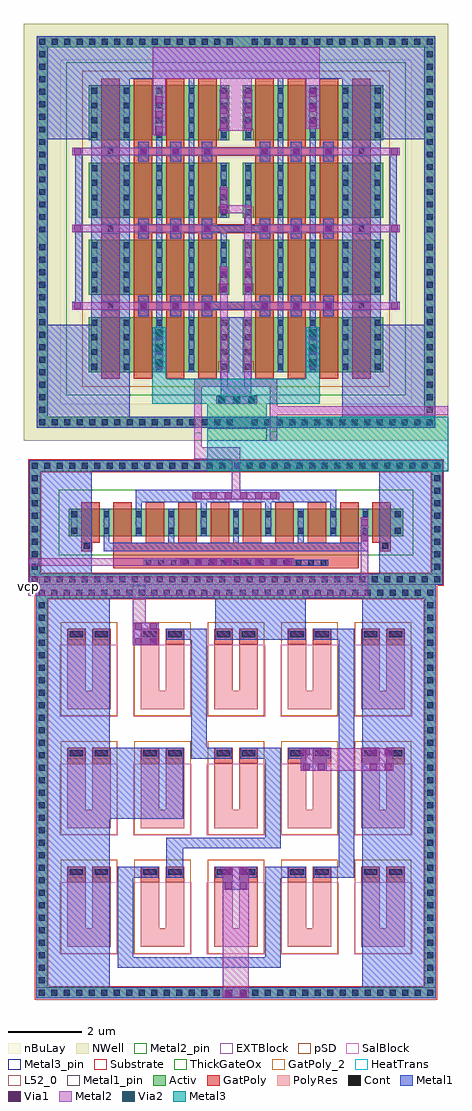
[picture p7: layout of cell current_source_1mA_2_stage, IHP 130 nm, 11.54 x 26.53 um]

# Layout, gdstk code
from math import pi, radians
import gdstk
lib = gdstk.Library(unit=1e-6, precision=1e-09)
def R(c, l, rs):  # rectangles x0, y0, x1, y1
    for r in rs: c.add(gdstk.rectangle(r[:2], r[2:], *l))
def A(c, l, x, y, w, h, nx, ny, dx, dy):  # array of equal rectangles
    R(c, l, [(x+i*dx, y+j*dy, x+i*dx+w, y+j*dy+h) for i in range(nx) for j in range(ny)])
def P(c, l, *ps):  # polygons
    for p in ps: c.add(gdstk.Polygon(p, *l))
Activ = (1, 0)
GatPoly = (5, 0)
GatPoly_2 = (5, 2)
Cont = (6, 0)
Metal1 = (8, 0)
Metal1_pin = (8, 2)
Metal2 = (10, 0)
Metal2_pin = (10, 2)
pSD = (14, 0)
Via1 = (19, 0)
SalBlock = (28, 0)
Via2 = (29, 0)
Metal3 = (30, 0)
Metal3_pin = (30, 2)
NWell = (31, 0)
nBuLay = (32, 0)
Substrate = (40, 0)
ThickGateOx = (44, 0)
HeatTrans = (51, 0)
L52_0 = (52, 0)
EXTBlock = (111, 0)
PolyRes = (128, 0)

via_stack_1_1 = lib.new_cell('via_stack$1$1')
R(via_stack_1_1, Metal1, [(-0.105,-0.555,0.105,0.555)])
R(via_stack_1_1, Metal2, [(-0.1,-0.555,0.1,0.555)])
A(via_stack_1_1, Via1, -0.095, -0.505, 0.19, 0.19, 1, 3, 0, 0.41)

via_stack_9 = lib.new_cell('via_stack$9')
R(via_stack_9, Metal1, [(-0.145,-0.105,0.145,0.105)])
R(via_stack_9, Metal2, [(-0.145,-0.1,0.145,0.1)])
R(via_stack_9, Via1, [(-0.095,-0.095,0.095,0.095)])

via_stack_14_3 = lib.new_cell('via_stack$14$3')
R(via_stack_14_3, GatPoly, [(-0.15,-0.15,0.15,0.15)])
R(via_stack_14_3, Cont, [(-0.08,-0.08,0.08,0.08)])
R(via_stack_14_3, Metal1, [(-0.145,-0.105,0.145,0.105)])
R(via_stack_14_3, Metal2, [(-0.145,-0.1,0.145,0.1)])
R(via_stack_14_3, Via1, [(-0.095,-0.095,0.095,0.095)])

via_stack_8_3 = lib.new_cell('via_stack$8$3')
R(via_stack_8_3, GatPoly, [(-0.15,-0.15,0.15,0.15)])
R(via_stack_8_3, Cont, [(-0.08,-0.08,0.08,0.08)])
R(via_stack_8_3, Metal1, [(-0.13,-0.08,0.13,0.08)])

via_stack_12_2 = lib.new_cell('via_stack$12$2')
R(via_stack_12_2, Metal1, [(-0.105,-0.35,0.105,0.35)])
R(via_stack_12_2, Metal2, [(-0.1,-0.35,0.1,0.35)])
R(via_stack_12_2, Via1, [(-0.095,-0.3,0.095,-0.11), (-0.095,0.11,0.095,0.3)])

pmoshv_4 = lib.new_cell('pmosHV$4')
A(pmoshv_4, Activ, 0, 0, 0.3, 0.3, 5, 1, 0.88, 0)
R(pmoshv_4, Activ, [(0,0,3.82,1.5)])
A(pmoshv_4, GatPoly, 0.34, -0.18, 0.5, 1.86, 4, 1, 0.88, 0)
R(pmoshv_4, GatPoly_2, [(0.34,-0.18,0.84,1.68)])
A(pmoshv_4, Cont, 0.07, 0.07, 0.16, 0.16, 5, 4, 0.88, 0.4)
A(pmoshv_4, Metal1, 0.07, 0, 0.16, 1.5, 5, 1, 0.88, 0)
R(pmoshv_4, Metal1_pin, [(0.07,0,0.23,1.5), (0.95,0,1.11,1.5)])
R(pmoshv_4, pSD, [(-0.18,-0.4,4,1.9)])
R(pmoshv_4, NWell, [(-0.62,-0.62,4.44,2.12)])
R(pmoshv_4, Substrate, [(3.52,0,3.82,0.3)])
R(pmoshv_4, ThickGateOx, [(-0.62,-0.62,4.44,2.12)])
A(pmoshv_4, HeatTrans, 0.34, -0.18, 0.5, 1.86, 4, 1, 0.88, 0)
pmoshv_4.add(gdstk.Label('pmosHV', (0.59,0.75), layer=63, texttype=0))
pmoshv_4.add(gdstk.Label('pmos', (0.59,0.75), layer=51, texttype=0))
pmoshv_4.add(gdstk.Label('pmos', (1.47,0.75), layer=51, texttype=0))
pmoshv_4.add(gdstk.Label('pmos', (2.35,0.75), layer=51, texttype=0))
pmoshv_4.add(gdstk.Label('pmos', (3.23,0.75), layer=51, texttype=0))

guard_ring_4_2 = lib.new_cell('guard_ring$4$2')
R(guard_ring_4_2, Activ, [(-5.42,-5.02,-5.12,5.02), (5.12,-5.02,5.42,5.02), (-5.42,5.02,5.42,5.32)])
P(guard_ring_4_2, Activ, [(-5.42,-5.32),(-5.42,5.02),(-5.12,5.02),(-5.12,-5.02),(5.12,-5.02),(5.12,5.02),(-5.42,5.02),(-5.42,5.32),(5.42,5.32),(5.42,-5.32)])
A(guard_ring_4_2, Cont, -5.35, -5.25, 0.16, 0.16, 15, 2, 0.34, 10.34)
A(guard_ring_4_2, Cont, 0.09, -5.25, 0.16, 0.16, 16, 2, 0.34, 10.34)
A(guard_ring_4_2, Cont, -5.35, -4.91, 0.16, 0.16, 1, 14, 0, 0.34)
A(guard_ring_4_2, Cont, 5.19, -4.91, 0.16, 0.16, 1, 14, 0, 0.34)
A(guard_ring_4_2, Cont, -5.35, -0.01, 0.16, 0.16, 1, 15, 0, 0.34)
A(guard_ring_4_2, Cont, 5.19, -0.01, 0.16, 0.16, 1, 15, 0, 0.34)
R(guard_ring_4_2, Metal1, [(-5.42,-5.32,5.42,-5.02), (-5.42,-5.02,-5.12,5.02), (5.12,-5.02,5.42,5.02), (-5.42,5.02,5.42,5.32)])
R(guard_ring_4_2, NWell, [(-5.77,-5.67,5.77,5.67)])
R(guard_ring_4_2, nBuLay, [(-5.77,-4.67,-4.77,4.67), (4.77,-4.67,5.77,4.67), (-5.77,4.67,5.77,5.67)])
P(guard_ring_4_2, nBuLay, [(-5.77,-5.67),(-5.77,4.67),(-4.77,4.67),(-4.77,-4.67),(4.77,-4.67),(4.77,4.67),(-5.77,4.67),(-5.77,5.67),(5.77,5.67),(5.77,-5.67)])
guard_ring_4_2.add(gdstk.Label('well', (0,-5.17), layer=63, texttype=0))

via_stack_22_2 = lib.new_cell('via_stack$22$2')
R(via_stack_22_2, Metal1, [(-0.105,-0.555,0.105,0.555)])
R(via_stack_22_2, Metal2, [(-0.1,-0.555,0.1,0.555)])
A(via_stack_22_2, Via1, -0.095, -0.505, 0.19, 0.19, 1, 3, 0, 0.41)
A(via_stack_22_2, Via2, -0.095, -0.505, 0.19, 0.19, 1, 3, 0, 0.41)
R(via_stack_22_2, Metal3, [(-0.1,-0.555,0.1,0.555)])

via_stack_24_2 = lib.new_cell('via_stack$24$2')
R(via_stack_24_2, Metal1, [(-0.555,-0.105,0.555,0.105)])
R(via_stack_24_2, Metal2, [(-0.555,-0.1,0.555,0.1)])
A(via_stack_24_2, Via1, -0.505, -0.095, 0.19, 0.19, 3, 1, 0.41, 0)
A(via_stack_24_2, Via2, -0.505, -0.095, 0.19, 0.19, 3, 1, 0.41, 0)
R(via_stack_24_2, Metal3, [(-0.555,-0.1,0.555,0.1)])

current_source_ref = lib.new_cell('current_source_ref')
A(current_source_ref, GatPoly, -2.78, -2.13, 2.78, 0.24, 1, 3, 0, 2.1)
A(current_source_ref, GatPoly, 0, -2.13, 2.78, 0.24, 1, 3, 0, 2.1)
R(current_source_ref, GatPoly, [(-3.66,-2.13,-3.16,-1.89), (3.16,-2.13,3.66,-1.89), (-3.66,-0.03,-3.16,0.21), (3.16,-0.03,3.66,0.21), (-3.66,2.045,-3.16,2.31), (3.16,2.045,3.66,2.31)])
R(current_source_ref, Metal1, [(-5.42,-5.32,-2.89,-2.525), (-3.93,-5.32,-2.89,5.32), (2.89,-5.32,3.93,5.32), (2.89,-5.32,5.42,-2.525), (-0.41,-4.67,0.41,-2.31), (-2.17,-3.81,-2.01,3.99), (-1.29,-3.81,-1.13,4.67), (1.13,-3.81,1.29,4.595), (2.01,-3.81,2.17,3.99), (-2.66,-2.285,-2.37,-1.735), (-1.785,-2.285,-1.495,-1.735), (-0.93,-2.285,-0.64,-1.735), (0.64,-2.285,0.93,-1.735), (1.495,-2.285,1.79,-1.735), (2.37,-2.285,2.66,-1.735), (-4.37,-2.11,-4.18,2.29), (-0.69,-2.11,0.89,-1.9), (4.18,-2.11,4.37,2.29), (0.25,-0.305,0.41,0.18), (-2.66,-0.185,-2.365,0.365), (-1.785,-0.185,-1.495,0.365), (-0.93,-0.185,-0.64,0.365), (0.64,-0.185,0.93,0.365), (1.495,-0.185,1.79,0.365), (2.37,-0.185,2.66,0.365), (-0.93,-0.01,0.93,0.18), (-0.41,-0.01,-0.25,0.555), (-2.66,1.91,-2.37,2.46), (-1.785,1.91,-1.495,2.46), (-0.93,1.91,-0.64,2.46), (0.64,1.91,0.93,2.46), (1.495,1.91,1.79,2.46), (2.365,1.91,2.66,2.46), (-5.42,2.525,-2.89,5.32), (2.89,2.525,5.42,5.32), (-5.42,4.17,5.42,5.15)])
R(current_source_ref, Metal1_pin, [(-5.42,5.02,5.42,5.32)])
R(current_source_ref, Metal2, [(-1.12,-5.67,-0.92,-3.99), (0.93,-5.67,1.13,-3.99), (-1.12,-4.205,-0.23,-3.99), (-0.43,-4.205,-0.23,-1.47), (0.23,-4.205,0.43,-1.47), (0.23,-4.205,1.13,-3.99), (-4.37,-2.105,-0.64,-1.905), (0.64,-2.105,4.37,-1.905), (-0.43,-1.41,-0.23,0.595), (-4.37,-0.005,-0.64,0.195), (0.64,-0.005,4.37,0.195), (-0.43,0.515,0.43,0.735), (-4.37,2.09,0,2.29), (0,2.09,4.37,2.29), (1.915,2.635,2.265,4.37), (-0.43,2.75,0.43,4.37), (-2.28,2.815,-1.9,4.37), (-0.43,3.685,-0.23,4.37), (-2.28,4.17,-0.23,5.02), (-0.77,4.17,0.77,5.02), (0.23,4.17,2.265,5.02)])
R(current_source_ref, Metal2_pin, [(-1.12,-5.67,-0.92,-5.42), (0.93,-5.67,1.13,-5.455)])
R(current_source_ref, Metal3, [(-0.84,-5.67,0.775,-4.57), (-2.28,-4.67,-1.9,-2.59), (-2.28,-4.67,2.28,-3.99), (1.9,-4.67,2.28,-2.59)])
R(current_source_ref, Metal3_pin, [(-0.84,-5.67,0.775,-5.33)])
current_source_ref.add(gdstk.Reference(via_stack_1_1, (-0.33,3.32)))
current_source_ref.add(gdstk.Reference(via_stack_1_1, (-2.09,3.37)))
current_source_ref.add(gdstk.Reference(via_stack_9, (-4.305,2.19)))
current_source_ref.add(gdstk.Reference(via_stack_14_3, (-0.785,2.19)))
current_source_ref.add(gdstk.Reference(via_stack_14_3, (-1.64,2.19)))
current_source_ref.add(gdstk.Reference(via_stack_14_3, (-2.515,2.19)))
current_source_ref.add(gdstk.Reference(via_stack_9, (-4.305,0.095)))
current_source_ref.add(gdstk.Reference(via_stack_14_3, (-0.785,0.095)))
current_source_ref.add(gdstk.Reference(via_stack_14_3, (-1.64,0.095)))
current_source_ref.add(gdstk.Reference(via_stack_14_3, (-2.515,0.095)))
current_source_ref.add(gdstk.Reference(via_stack_9, (-4.305,-2.005)))
current_source_ref.add(gdstk.Reference(via_stack_14_3, (-0.785,-2.005)))
current_source_ref.add(gdstk.Reference(via_stack_14_3, (-1.64,-2.005)))
current_source_ref.add(gdstk.Reference(via_stack_14_3, (-2.515,-2.005)))
current_source_ref.add(gdstk.Reference(via_stack_8_3, (-3.41,0.095)))
current_source_ref.add(gdstk.Reference(via_stack_8_3, (-3.41,-1.995)))
current_source_ref.add(gdstk.Reference(via_stack_8_3, (-3.41,2.215)))
current_source_ref.add(gdstk.Reference(via_stack_1_1, (0.33,3.315), rotation=pi, x_reflection=True))
current_source_ref.add(gdstk.Reference(via_stack_1_1, (2.09,3.19), rotation=pi, x_reflection=True))
current_source_ref.add(gdstk.Reference(via_stack_9, (4.305,2.19), rotation=pi, x_reflection=True))
current_source_ref.add(gdstk.Reference(via_stack_14_3, (1.64,2.19), rotation=pi, x_reflection=True))
current_source_ref.add(gdstk.Reference(via_stack_14_3, (2.515,2.19), rotation=pi, x_reflection=True))
current_source_ref.add(gdstk.Reference(via_stack_9, (4.305,0.095), rotation=pi, x_reflection=True))
current_source_ref.add(gdstk.Reference(via_stack_14_3, (0.785,0.095), rotation=pi, x_reflection=True))
current_source_ref.add(gdstk.Reference(via_stack_14_3, (1.64,0.095), rotation=pi, x_reflection=True))
current_source_ref.add(gdstk.Reference(via_stack_14_3, (2.515,0.095), rotation=pi, x_reflection=True))
current_source_ref.add(gdstk.Reference(via_stack_9, (4.305,-2.005), rotation=pi, x_reflection=True))
current_source_ref.add(gdstk.Reference(via_stack_14_3, (0.785,-2.005), rotation=pi, x_reflection=True))
current_source_ref.add(gdstk.Reference(via_stack_14_3, (1.64,-2.005), rotation=pi, x_reflection=True))
current_source_ref.add(gdstk.Reference(via_stack_14_3, (2.515,-2.005), rotation=pi, x_reflection=True))
current_source_ref.add(gdstk.Reference(via_stack_8_3, (3.41,0.095), rotation=pi, x_reflection=True))
current_source_ref.add(gdstk.Reference(via_stack_8_3, (3.41,-1.995), rotation=pi, x_reflection=True))
current_source_ref.add(gdstk.Reference(via_stack_8_3, (3.41,2.215), rotation=pi, x_reflection=True))
current_source_ref.add(gdstk.Reference(via_stack_14_3, (0.785,2.19), rotation=pi, x_reflection=True))
current_source_ref.add(gdstk.Reference(via_stack_12_2, (0.33,0.865)))
current_source_ref.add(gdstk.Reference(via_stack_12_2, (-0.33,-1.295)))
current_source_ref.add(gdstk.Reference(via_stack_12_2, (0.33,-1.295)))
r = gdstk.Reference(pmoshv_4, (-4,-3.81)); r.repetition = gdstk.Repetition(1, 4, v1=(0,0), v2=(0,2.1)); current_source_ref.add(r)
r = gdstk.Reference(pmoshv_4, (4,-3.81), rotation=pi, x_reflection=True); r.repetition = gdstk.Repetition(1, 4, v1=(0,0), v2=(0,2.1)); current_source_ref.add(r)
current_source_ref.add(gdstk.Reference(guard_ring_4_2, (0,0)))
current_source_ref.add(gdstk.Reference(via_stack_22_2, (-2.09,-3.145), rotation=pi, x_reflection=True))
current_source_ref.add(gdstk.Reference(via_stack_22_2, (2.09,-3.145), rotation=pi, x_reflection=True))
current_source_ref.add(gdstk.Reference(via_stack_24_2, (-0.02,-4.56)))
current_source_ref.add(gdstk.Label('IOVDD', (0,5.32), layer=8, texttype=2))
current_source_ref.add(gdstk.Label('iref', (1.03,-5.67), layer=10, texttype=2))
current_source_ref.add(gdstk.Label('i100ua', (-1.02,-5.67), layer=10, texttype=2))
current_source_ref.add(gdstk.Label('i1ma', (-0.032,-5.67), layer=30, texttype=2))

nmoshv_2_1 = lib.new_cell('nmosHV$2$1')
A(nmoshv_2_1, Activ, 0, 0, 0.3, 0.3, 11, 1, 0.88, 0)
R(nmoshv_2_1, Activ, [(-1.07,-1.02,-0.77,1.77), (9.87,-1.02,10.17,1.77), (0,0,9.1,0.75), (-1.07,1.77,10.17,2.07)])
P(nmoshv_2_1, Activ, [(-1.07,-1.32),(-1.07,1.77),(-0.77,1.77),(-0.77,-1.02),(9.87,-1.02),(9.87,1.77),(-1.07,1.77),(-1.07,2.07),(10.17,2.07),(10.17,-1.32)])
A(nmoshv_2_1, GatPoly, 0.34, -0.18, 0.5, 1.11, 10, 1, 0.88, 0)
R(nmoshv_2_1, GatPoly_2, [(0.34,-0.18,0.84,0.93)])
A(nmoshv_2_1, Cont, -1, -1.25, 0.16, 0.16, 16, 2, 0.34, 3.09)
A(nmoshv_2_1, Cont, 4.5, -1.25, 0.16, 0.16, 17, 2, 0.34, 3.09)
A(nmoshv_2_1, Cont, -1, -0.91, 0.16, 0.16, 1, 4, 0, 0.34)
A(nmoshv_2_1, Cont, 9.94, -0.91, 0.16, 0.16, 1, 4, 0, 0.34)
A(nmoshv_2_1, Cont, 0.07, 0.07, 0.16, 0.16, 11, 2, 0.88, 0.45)
A(nmoshv_2_1, Cont, -1, 0.48, 0.16, 0.16, 1, 4, 0, 0.34)
A(nmoshv_2_1, Cont, 9.94, 0.48, 0.16, 0.16, 1, 4, 0, 0.34)
A(nmoshv_2_1, Metal1, 0.07, 0, 0.16, 0.75, 11, 1, 0.88, 0)
R(nmoshv_2_1, Metal1, [(-1.07,-1.32,10.17,-1.02), (-1.07,-1.02,-0.77,1.77), (9.87,-1.02,10.17,1.77), (-1.07,1.77,10.17,2.07)])
R(nmoshv_2_1, Metal1_pin, [(0.07,0,0.23,0.75), (0.95,0,1.11,0.75)])
R(nmoshv_2_1, pSD, [(-1.1,-0.99,-0.74,1.74), (9.84,-0.99,10.2,1.74), (-1.1,1.74,10.2,2.1)])
P(nmoshv_2_1, pSD, [(-1.1,-1.35),(-1.1,1.74),(-0.74,1.74),(-0.74,-0.99),(9.84,-0.99),(9.84,1.74),(-1.1,1.74),(-1.1,2.1),(10.2,2.1),(10.2,-1.35)])
R(nmoshv_2_1, Substrate, [(-1.1,-0.99,-0.74,1.74), (9.84,-0.99,10.2,1.74), (-1.1,1.74,10.2,2.1)])
P(nmoshv_2_1, Substrate, [(-1.1,-1.35),(-1.1,1.74),(-0.74,1.74),(-0.74,-0.99),(9.84,-0.99),(9.84,1.74),(-1.1,1.74),(-1.1,2.1),(10.2,2.1),(10.2,-1.35)])
R(nmoshv_2_1, ThickGateOx, [(-0.27,-0.52,9.37,1.27)])
A(nmoshv_2_1, HeatTrans, 0.34, -0.18, 0.5, 1.11, 10, 1, 0.88, 0)
nmoshv_2_1.add(gdstk.Label('nmosHV', (0.59,0.375), layer=63, texttype=0))
nmoshv_2_1.add(gdstk.Label('sub!', (4.55,-1.17), layer=63, texttype=0))
nmoshv_2_1.add(gdstk.Label('nmosHV', (0.59,0.375), layer=51, texttype=0))
nmoshv_2_1.add(gdstk.Label('nmosHV', (1.47,0.375), layer=51, texttype=0))
nmoshv_2_1.add(gdstk.Label('nmosHV', (2.35,0.375), layer=51, texttype=0))
nmoshv_2_1.add(gdstk.Label('nmosHV', (3.23,0.375), layer=51, texttype=0))
nmoshv_2_1.add(gdstk.Label('nmosHV', (4.11,0.375), layer=51, texttype=0))
nmoshv_2_1.add(gdstk.Label('nmosHV', (4.99,0.375), layer=51, texttype=0))
nmoshv_2_1.add(gdstk.Label('nmosHV', (5.87,0.375), layer=51, texttype=0))
nmoshv_2_1.add(gdstk.Label('nmosHV', (6.75,0.375), layer=51, texttype=0))
nmoshv_2_1.add(gdstk.Label('nmosHV', (7.63,0.375), layer=51, texttype=0))
nmoshv_2_1.add(gdstk.Label('nmosHV', (8.51,0.375), layer=51, texttype=0))

via_stack_26_2 = lib.new_cell('via_stack$26$2')
R(via_stack_26_2, GatPoly, [(-2.53,-0.15,2.53,0.15)])
A(via_stack_26_2, Cont, -2.46, -0.08, 0.16, 0.16, 15, 1, 0.34, 0)
R(via_stack_26_2, Metal1, [(-2.51,-0.08,2.51,0.08)])

via_stack_27_1 = lib.new_cell('via_stack$27$1')
R(via_stack_27_1, Metal1, [(-1.58,-0.105,1.58,0.105)])
R(via_stack_27_1, Metal2, [(-1.58,-0.1,1.58,0.1)])
A(via_stack_27_1, Via1, -1.53, -0.095, 0.19, 0.19, 8, 1, 0.41, 0)

via_stack_28_1 = lib.new_cell('via_stack$28$1')
R(via_stack_28_1, Metal1, [(-1.17,-0.105,1.17,0.105)])
R(via_stack_28_1, Metal2, [(-1.17,-0.1,1.17,0.1)])
A(via_stack_28_1, Via1, -1.12, -0.095, 0.19, 0.19, 6, 1, 0.41, 0)

current_source_pass_elem = lib.new_cell('current_source_pass_element')
R(current_source_pass_elem, GatPoly, [(-3.33,-1.245,3.33,-1), (-3.33,-1,3.33,-0.555)])
A(current_source_pass_elem, Metal1, -3.6, -0.78, 0.16, 0.555, 5, 1, 1.76, 0)
A(current_source_pass_elem, Metal1, -2.72, 0.225, 0.16, 0.67, 4, 1, 1.76, 0)
R(current_source_pass_elem, Metal1, [(-5.62,-1.695,-3.925,1.695), (3.9,-1.695,5.62,1.695), (-3.6,-0.78,3.6,-0.555), (-2.72,0.555,2.72,0.895)])
R(current_source_pass_elem, Metal1_pin, [(-5.62,-1.695,5.62,-1.395)])
R(current_source_pass_elem, Metal2, [(3.395,-1.725,3.595,-0.44), (-5.65,-1.17,-1.255,-0.97), (-0.11,0.635,0.11,1.725)])
R(current_source_pass_elem, Metal2_pin, [(3.395,-1.725,3.595,-1.48), (-5.65,-1.17,-5.365,-0.97), (-0.11,1.43,0.11,1.725)])
current_source_pass_elem.add(gdstk.Reference(nmoshv_2_1, (-4.55,-0.375)))
current_source_pass_elem.add(gdstk.Reference(via_stack_26_2, (0,-1.095)))
current_source_pass_elem.add(gdstk.Reference(via_stack_27_1, (0,-1.07)))
current_source_pass_elem.add(gdstk.Reference(via_stack_12_2, (3.495,-0.21)))
current_source_pass_elem.add(gdstk.Reference(via_stack_28_1, (0,0.73)))
current_source_pass_elem.add(gdstk.Reference(via_stack_8_3, (4.06,-0.63)))
current_source_pass_elem.add(gdstk.Reference(via_stack_8_3, (-4.06,-0.63)))
current_source_pass_elem.add(gdstk.Label('VSS', (0,-1.695), layer=8, texttype=2))
current_source_pass_elem.add(gdstk.Label('vcp', (3.495,-1.725), layer=10, texttype=2))
current_source_pass_elem.add(gdstk.Label('iref', (0,1.725), layer=10, texttype=2))
current_source_pass_elem.add(gdstk.Label('vota', (-5.65,-1.07), layer=10, texttype=2))

rppd = lib.new_cell('rppd')
R(rppd, GatPoly, [(0,-0.43,0.5,-0.2), (0.68,-0.43,1.18,-0.2), (0,-0.2,0.5,0), (0.68,-0.2,1.18,0)])
R(rppd, Cont, [(0.07,-0.36,0.43,-0.2), (0.75,-0.36,1.11,-0.2)])
R(rppd, Metal1, [(0.02,-0.43,0.48,-0.13), (0.7,-0.43,1.16,-0.13)])
R(rppd, Metal1_pin, [(0.02,-0.43,0.48,-0.13), (0.7,-0.43,1.16,-0.13)])
R(rppd, pSD, [(-0.18,-0.61,0.68,0), (0.5,-0.61,1.36,0), (-0.18,0,1.36,1.255), (-0.18,1.255,1.36,1.935)])
R(rppd, SalBlock, [(-0.2,0,1.38,1.255), (-0.2,1.255,1.38,1.955)])
R(rppd, L52_0, [(0,0,0.5,1.255), (0.68,0,1.18,1.255), (0,1.255,1.18,1.755)])
R(rppd, EXTBlock, [(-0.18,-0.61,0.68,0), (0.5,-0.61,1.36,0), (-0.2,0,1.38,1.255), (-0.2,1.255,1.38,1.955)])
R(rppd, PolyRes, [(0,0,0.5,1.255), (0.68,0,1.18,1.255), (0,1.255,1.18,1.755)])
rppd.add(gdstk.Label('rppd r=1803.295', (0.25,0.628), layer=63, texttype=0))
rppd.add(gdstk.Label('rppd', (0.25,0.628), layer=52, texttype=0))
rppd.add(gdstk.Label('rppd', (0.59,1.505), layer=52, texttype=0))
rppd.add(gdstk.Label('rppd', (0.93,0.628), layer=52, texttype=0))

guard_ring_6_1 = lib.new_cell('guard_ring$6$1')
R(guard_ring_6_1, Activ, [(-5.435,-5.29,-5.135,5.29), (5.135,-5.29,5.435,5.29), (-5.435,5.29,5.435,5.59)])
P(guard_ring_6_1, Activ, [(-5.435,-5.59),(-5.435,5.29),(-5.135,5.29),(-5.135,-5.29),(5.135,-5.29),(5.135,5.29),(-5.435,5.29),(-5.435,5.59),(5.435,5.59),(5.435,-5.59)])
A(guard_ring_6_1, Cont, -5.365, -5.52, 0.16, 0.16, 16, 2, 0.34, 10.88)
A(guard_ring_6_1, Cont, 0.105, -5.52, 0.16, 0.16, 16, 2, 0.34, 10.88)
A(guard_ring_6_1, Cont, -5.365, -5.18, 0.16, 0.16, 1, 31, 0, 0.34)
A(guard_ring_6_1, Cont, 5.205, -5.18, 0.16, 0.16, 1, 31, 0, 0.34)
R(guard_ring_6_1, Metal1, [(-5.435,-5.59,5.435,-5.29), (-5.435,-5.29,-5.135,5.29), (5.135,-5.29,5.435,5.29), (-5.435,5.29,5.435,5.59)])
R(guard_ring_6_1, pSD, [(-5.465,-5.26,-5.105,5.26), (5.105,-5.26,5.465,5.26), (-5.465,5.26,5.465,5.62)])
P(guard_ring_6_1, pSD, [(-5.465,-5.62),(-5.465,5.26),(-5.105,5.26),(-5.105,-5.26),(5.105,-5.26),(5.105,5.26),(-5.465,5.26),(-5.465,5.62),(5.465,5.62),(5.465,-5.62)])
R(guard_ring_6_1, Substrate, [(-5.465,-5.26,-5.105,5.26), (5.105,-5.26,5.465,5.26), (-5.465,5.26,5.465,5.62)])
P(guard_ring_6_1, Substrate, [(-5.465,-5.62),(-5.465,5.26),(-5.105,5.26),(-5.105,-5.26),(5.105,-5.26),(5.105,5.26),(-5.465,5.26),(-5.465,5.62),(5.465,5.62),(5.465,-5.62)])
guard_ring_6_1.add(gdstk.Label('sub!', (0,-5.44), layer=63, texttype=0))

via_stack_25_1 = lib.new_cell('via_stack$25$1')
R(via_stack_25_1, Metal1, [(-0.35,-0.31,0.35,0.31)])
R(via_stack_25_1, Metal2, [(-0.35,-0.305,0.35,0.305)])
R(via_stack_25_1, Via1, [(-0.3,-0.3,-0.11,-0.11), (0.11,-0.3,0.3,-0.11), (-0.3,0.11,-0.11,0.3), (0.11,0.11,0.3,0.3)])

via_stack_4_3 = lib.new_cell('via_stack$4$3')
R(via_stack_4_3, Metal1, [(-0.35,-0.105,0.35,0.105)])
R(via_stack_4_3, Metal2, [(-0.35,-0.1,0.35,0.1)])
R(via_stack_4_3, Via1, [(-0.3,-0.095,-0.11,0.095), (0.11,-0.095,0.3,0.095)])

current_source_pass_resi = lib.new_cell('current_source_pass_resistors')
R(current_source_pass_resi, Metal1, [(-5.435,-5.59,-3.43,5.59), (3.43,-5.59,5.435,5.59), (-3.21,-4.755,-2.79,-2.005), (-3.21,-4.755,1.21,-4.475), (0.79,-4.755,1.21,-2.005), (-3.21,-2.305,-2.11,-2.005), (-1.89,-2.305,-1.43,-1.23), (-0.57,-2.305,0.57,-2.005), (0.79,-2.305,1.89,-2.005), (2.11,-2.305,3.21,-2.005), (2.79,-2.305,3.21,4.455), (-1.89,-1.51,1.21,-1.23), (0.79,-1.51,1.21,1.225), (-4.065,-0.705,-1.43,1.225), (-1.21,0.925,-0.79,4.455), (-1.21,0.925,-0.11,1.225), (0.11,0.925,1.21,1.225), (1.43,0.925,2.57,1.225), (-1.89,4.155,-0.79,4.455), (-0.57,4.155,1.89,5.59), (2.11,4.155,3.21,4.455)])
R(current_source_pass_resi, Metal1_pin, [(-5.435,-5.59,5.435,-5.29)])
R(current_source_pass_resi, Metal2, [(-0.36,-5.565,0.34,-2.015), (1.765,0.6,4.28,1.21), (-2.805,4.01,-2.455,5.62)])
R(current_source_pass_resi, Metal2_pin, [(-2.805,5.25,-2.455,5.62)])
r = gdstk.Reference(rppd, (-4.59,4.025), x_reflection=True); r.repetition = gdstk.Repetition(5, 3, v1=(2,0), v2=(0,-3.23)); current_source_pass_resi.add(r)
current_source_pass_resi.add(gdstk.Reference(guard_ring_6_1, (0,0)))
current_source_pass_resi.add(gdstk.Reference(via_stack_25_1, (-2.455,4.315)))
current_source_pass_resi.add(gdstk.Reference(via_stack_25_1, (2.115,0.905)))
current_source_pass_resi.add(gdstk.Reference(via_stack_25_1, (3.93,0.905)))
current_source_pass_resi.add(gdstk.Reference(via_stack_25_1, (-0.01,-2.32)))
current_source_pass_resi.add(gdstk.Reference(via_stack_4_3, (-0.01,-5.465)))
current_source_pass_resi.add(gdstk.Label('VSS', (0,-5.62), layer=8, texttype=2))
current_source_pass_resi.add(gdstk.Label('vcp', (-2.63,5.62), layer=10, texttype=2))

current_source_1ma_2_sta = lib.new_cell('current_source_1mA_2_stage')
R(current_source_1ma_2_sta, Activ, [(0.335,-2.055,11.205,-1.995)])
R(current_source_1ma_2_sta, Metal1, [(0.335,-2.055,11.205,-1.995)])
R(current_source_1ma_2_sta, Metal2, [(0.12,-2.285,9.365,-1.78), (4.64,1.425,5.88,1.745), (4.64,1.425,4.84,2.21), (6.69,2.615,11.54,2.865)])
R(current_source_1ma_2_sta, Metal2_pin, [(0.12,-2.285,0.43,-1.78)])
R(current_source_1ma_2_sta, Metal3, [(4.99,1.095,11.54,2.575)])
current_source_1ma_2_sta.add(gdstk.Reference(current_source_ref, (5.77,7.595), rotation=pi, x_reflection=True))
current_source_1ma_2_sta.add(gdstk.Reference(current_source_pass_elem, (5.77,-0.3)))
current_source_1ma_2_sta.add(gdstk.Reference(current_source_pass_resi, (5.77,-7.645)))
current_source_1ma_2_sta.add(gdstk.Label('vcp', (0.12,-2.033), layer=10, texttype=2))

lib.write_gds('current_source_1mA_2_stage.gds')
